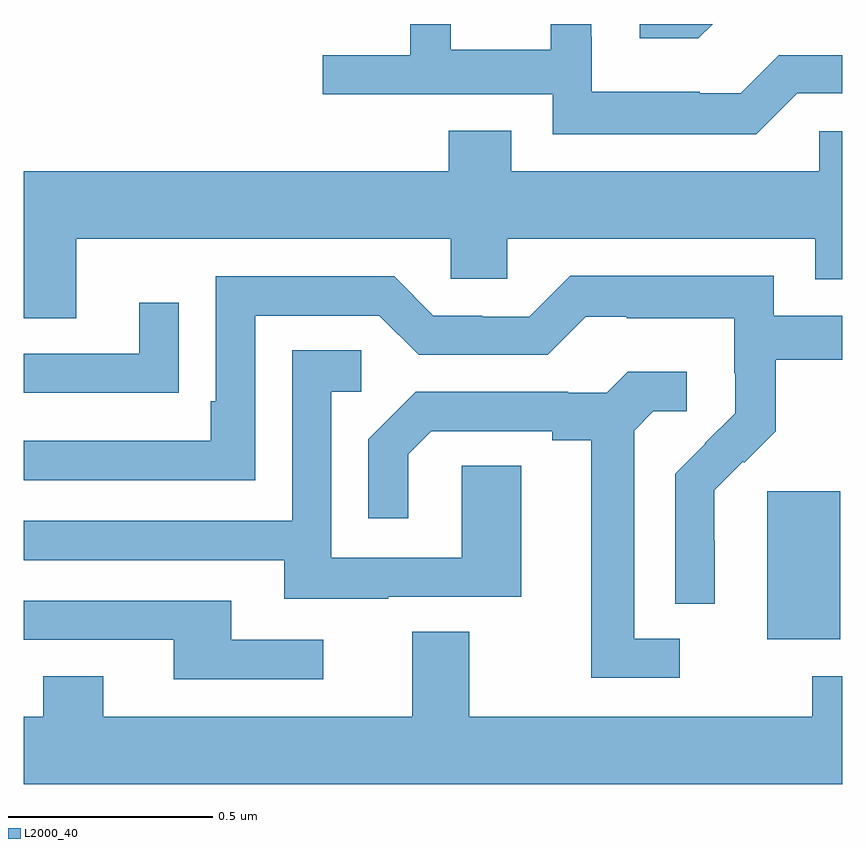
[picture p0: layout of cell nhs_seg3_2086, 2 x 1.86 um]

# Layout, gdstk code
import gdstk
lib = gdstk.Library(unit=1e-6, precision=1e-09)
def R(c, l, rs):  # rectangles x0, y0, x1, y1
    for r in rs: c.add(gdstk.rectangle(r[:2], r[2:], *l))
def P(c, l, *ps):  # polygons
    for p in ps: c.add(gdstk.Polygon(p, *l))
L2000_40 = (2000, 40)

nhs_seg3_2086 = lib.new_cell('nhs_seg3_2086')
R(nhs_seg3_2086, L2000_40, [(137.816,739.898,137.995,740.259)])
P(nhs_seg3_2086, L2000_40, [(137.889,741.231),(138,741.231),(138,741.324),(137.844,741.324),(137.751,741.231),(137.651,741.231),(137.651,741.235),(137.388,741.235),(137.388,741.369),(137.386,741.369),(137.386,741.4),(137.287,741.4),(137.287,741.337),(137.043,741.337),(137.043,741.4),(136.944,741.4),(136.944,741.324),(136.731,741.324),(136.731,741.228),(137.292,741.228),(137.292,741.131),(137.789,741.131)],
  [(137.683,741.4),(137.505,741.4),(137.505,741.365),(137.648,741.365)],
  [(136.129,740.876),(137.043,740.876),(137.043,740.778),(137.181,740.778),(137.181,740.876),(137.933,740.876),(137.933,740.777),(138,740.777),(138,741.138),(137.943,741.138),(137.943,741.04),(137.191,741.04),(137.191,741.139),(137.039,741.139),(137.039,741.04),(136,741.04),(136,740.682),(136.129,740.682)],
  [(137.688,740.138),(137.687,740.138),(137.687,740.261),(137.757,740.331),(137.76,740.328),(137.837,740.405),(137.837,740.58),(138,740.58),(138,740.688),(137.832,740.688),(137.832,740.785),(137.335,740.785),(137.235,740.685),(137.12,740.685),(137.12,740.688),(137.001,740.688),(136.905,740.784),(136.47,740.784),(136.47,740.479),(136.457,740.479),(136.457,740.382),(136,740.382),(136,740.286),(136.566,740.286),(136.566,740.688),(136.869,740.688),(136.965,740.592),(137.28,740.592),(137.373,740.685),(137.473,740.685),(137.473,740.681),(137.736,740.681),(137.736,740.547),(137.738,740.547),(137.738,740.45),(137.664,740.376),(137.665,740.375),(137.592,740.302),(137.592,739.984),(137.688,739.984)],
  [(136.277,740.5),(136.379,740.5),(136.379,740.719),(136.283,740.719),(136.283,740.595),(136,740.595),(136,740.499),(136.277,740.499)],
  [(136.891,740.001),(137.215,740.001),(137.215,740.321),(137.07,740.321),(137.07,740.097),(136.752,740.097),(136.752,740.502),(136.825,740.502),(136.825,740.603),(136.656,740.603),(136.656,740.187),(136,740.187),(136,740.091),(136.637,740.091),(136.637,739.997),(136.891,739.997)],
  [(137.602,739.899),(137.491,739.899),(137.491,740.407),(137.538,740.454),(137.62,740.454),(137.62,740.551),(137.476,740.551),(137.424,740.499),(137.33,740.499),(137.33,740.502),(136.958,740.502),(136.842,740.386),(136.842,740.193),(136.939,740.193),(136.939,740.349),(136.996,740.406),(137.291,740.406),(137.291,740.384),(137.387,740.384),(137.387,739.803),(137.602,739.803)],
  [(136.732,739.896),(136.507,739.896),(136.507,739.992),(136,739.992),(136,739.896),(136.367,739.896),(136.367,739.8),(136.732,739.8)],
  [(138,739.807),(137.926,739.807),(137.926,739.708),(137.089,739.708),(137.089,739.916),(136.949,739.916),(136.949,739.708),(136.195,739.708),(136.195,739.807),(136.048,739.807),(136.048,739.708),(136,739.708),(136,739.544),(138,739.544)])

lib.write_gds('nhs_seg3_2086.gds')
